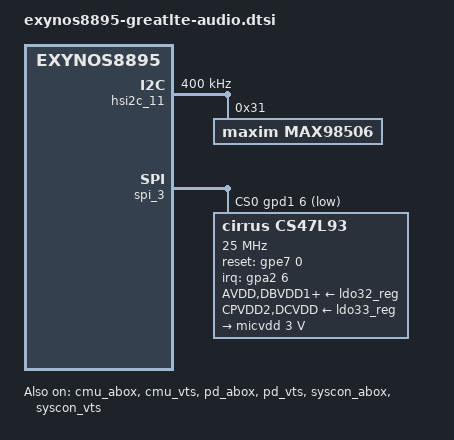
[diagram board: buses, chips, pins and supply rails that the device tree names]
// SPDX-License-Identifier: GPL-2.0 OR BSD-3-Clause
/*
 * Samsung Galaxy Note 8 (SM-N950N) audio
 */

#include <dt-bindings/gpio/gpio.h>
#include <dt-bindings/interrupt-controller/irq.h>

/ {
	abox: abox@13e50000 {
		compatible = "samsung,exynos8895-abox";
		reg = <0x0 0x13e50000 0x10000>, <0x0 0x13f00000 0x31000>;
		reg-names = "sfr", "sram";
		#address-cells = <2>;
		#size-cells = <1>;
		ranges;
		power-domains = <&pd_abox>;
		iommus = <&sysmmu_abox>;
		memory-region = <&abox_rmem>;
		samsung,pmu-syscon = <&pmu_system_controller>;
		samsung,sysreg = <&syscon_abox>;
		samsung,abox-gic = <&abox_gic>;
		samsung,vts = <&vts>;
		samsung,ipc-tx-offset = <0x30000>;
		samsung,ipc-rx-offset = <0x30300>;
		samsung,ipc-tx-ack-offset = <0x302fc>;
		samsung,ipc-rx-ack-offset = <0x305fc>;
		samsung,mailbox-offset = <0x30600>;
		samsung,pm-qos-int = <533000 400000 0 0 0>;
		clocks = <&cmu_abox CLK_MOUT_ABOX_PLL_AUD>, <&cmu_abox CLK_DOUT_ABOX_PLL>,
			 <&cmu_abox CLK_DOUT_ABOX_AUDIF>,
			 <&cmu_abox CLK_DOUT_ABOX_UAIF0>, <&cmu_abox CLK_DOUT_ABOX_UAIF1>,
			 <&cmu_abox CLK_DOUT_ABOX_UAIF2>, <&cmu_abox CLK_DOUT_ABOX_UAIF3>,
			 <&cmu_abox CLK_DOUT_ABOX_UAIF4>, <&cmu_abox CLK_DOUT_ABOX_DSIF>,
			 <&cmu_abox CLK_DOUT_ABOX_DMIC>,
			 <&cmu_abox CLK_GOUT_ABOX_BCLK_UAIF0>, <&cmu_abox CLK_GOUT_ABOX_BCLK_UAIF1>,
			 <&cmu_abox CLK_GOUT_ABOX_BCLK_UAIF2>, <&cmu_abox CLK_GOUT_ABOX_BCLK_UAIF3>,
			 <&cmu_abox CLK_GOUT_ABOX_BCLK_UAIF4>, <&cmu_abox CLK_GOUT_ABOX_BCLK_DSIF>,
			 <&cmu_abox CLK_FOUT_PLL_AUD>, <&oscclk>, <&cmu_abox CLK_DOUT_ABOX_BUS>;
		clock-names = "pll", "ca7", "audif", "bclk0", "bclk1", "bclk2", "bclk3", "bclk4", "bclk5", "dmic",
			      "bclk0_gate", "bclk1_gate", "bclk2_gate", "bclk3_gate", "bclk4_gate", "bclk5_gate",
			      "pll_fout", "oscclk", "bus";
		pinctrl-names = "active", "idle";
		pinctrl-0 = <&aud_codec_mclk &aud_codec_bus &aud_spk_bus &aud_fm_bus &aud_bt_bus &aud_cdma_bus>;
		pinctrl-1 = <&aud_codec_mclk_idle &aud_codec_bus_idle &aud_spk_bus_idle &aud_fm_bus_idle
			    &aud_bt_bus_idle &aud_cdma_bus_idle>;
		#sound-dai-cells = <1>;

		abox_rdma0: abox_rdma@13e51000 {
			compatible = "samsung,exynos8895-abox-rdma";
			reg = <0x0 0x13e51000 0x100>;
			samsung,id = <0>;
			samsung,type = "normal";
			#sound-dai-cells = <0>;
		};

		abox_rdma1: abox_rdma@13e51100 {
			compatible = "samsung,exynos8895-abox-rdma";
			reg = <0x0 0x13e51100 0x100>;
			samsung,id = <1>;
			samsung,type = "normal";
			#sound-dai-cells = <0>;
		};

		abox_rdma2: abox_rdma@13e51200 {
			compatible = "samsung,exynos8895-abox-rdma";
			reg = <0x0 0x13e51200 0x100>;
			samsung,id = <2>;
			samsung,type = "normal";
			#sound-dai-cells = <0>;
		};

		abox_rdma3: abox_rdma@13e51300 {
			compatible = "samsung,exynos8895-abox-rdma";
			reg = <0x0 0x13e51300 0x100>;
			samsung,id = <3>;
			samsung,type = "sync";
			#sound-dai-cells = <0>;
		};

		abox_rdma4: abox_rdma@13e51400 {
			compatible = "samsung,exynos8895-abox-rdma";
			reg = <0x0 0x13e51400 0x100>;
			samsung,id = <4>;
			samsung,type = "call";
			#sound-dai-cells = <0>;
		};

		abox_rdma5: abox_rdma@13e51500 {
			compatible = "samsung,exynos8895-abox-rdma";
			reg = <0x0 0x13e51500 0x100>;
			samsung,id = <5>;
			samsung,type = "compress";
			#sound-dai-cells = <0>;
		};

		abox_rdma6: abox_rdma@13e51600 {
			compatible = "samsung,exynos8895-abox-rdma";
			reg = <0x0 0x13e51600 0x100>;
			samsung,id = <6>;
			samsung,type = "realtime";
			#sound-dai-cells = <0>;
		};

		abox_rdma7: abox_rdma@13e51700 {
			compatible = "samsung,exynos8895-abox-rdma";
			reg = <0x0 0x13e51700 0x100>;
			samsung,id = <7>;
			samsung,type = "realtime";
			#sound-dai-cells = <0>;
		};

		abox_wdma0: abox_wdma@13e52000 {
			compatible = "samsung,exynos8895-abox-wdma";
			reg = <0x0 0x13e52000 0x100>;
			samsung,id = <0>;
			samsung,type = "normal";
			#sound-dai-cells = <0>;
		};

		abox_wdma1: abox_wdma@13e52100 {
			compatible = "samsung,exynos8895-abox-wdma";
			reg = <0x0 0x13e52100 0x100>;
			samsung,id = <1>;
			samsung,type = "normal";
			#sound-dai-cells = <0>;
		};

		abox_wdma2: abox_wdma@13e52200 {
			compatible = "samsung,exynos8895-abox-wdma";
			reg = <0x0 0x13e52200 0x100>;
			samsung,id = <2>;
			samsung,type = "call";
			#sound-dai-cells = <0>;
		};

		abox_wdma3: abox_wdma@13e52300 {
			compatible = "samsung,exynos8895-abox-wdma";
			reg = <0x0 0x13e52300 0x100>;
			samsung,id = <3>;
			samsung,type = "realtime";
			#sound-dai-cells = <0>;
		};

		abox_wdma4: abox_wdma@13e52400 {
			compatible = "samsung,exynos8895-abox-wdma";
			reg = <0x0 0x13e52400 0x100>;
			samsung,id = <4>;
			samsung,type = "vi-sensing";
			#sound-dai-cells = <0>;
		};

		abox_effect: abox_effect@13f2e000 {
			compatible = "samsung,exynos8895-abox-effect";
			reg = <0x0 0x13f2e000 0x1000>;
			reg-names = "reg";
			#sound-dai-cells = <0>;
		};

		abox_debug@0 {
			compatible = "samsung,exynos8895-abox-debug";
		};

		abox_vss@0 {
			compatible = "samsung,exynos8895-abox-vss";
		};

		abox_adaptation: abox_adaptation {
			compatible = "samsung,exynos8895-abox-adaptation";
			#sound-dai-cells = <1>;
		};

		ext-bin {
			bin0 {
				samsung,name = "dsm.bin";
				samsung,area = <1>;
				samsung,offset = <0x502000>;
			};

			bin1 {
				samsung,name = "AP_AUDIO_SLSI.bin";
				samsung,area = <1>;
				samsung,offset = <0x7f0000>;
			};

			bin2 {
				samsung,name = "APBargeIn_AUDIO_SLSI.bin";
				samsung,area = <1>;
				samsung,offset = <0x7ec000>;
			};

			bin3 {
				samsung,name = "SoundBoosterParam.bin";
				samsung,area = <1>;
				samsung,offset = <0x4fc000>;
			};

			bin4 {
				samsung,name = "APBiBF_AUDIO_SLSI.bin";
				samsung,area = <1>;
				samsung,offset = <0x7ef000>;
			};

			bin5 {
				samsung,name = "dsm_tune.bin";
				samsung,area = <1>;
				samsung,offset = <0x601000>;
			};
		};
	};

	vts: vts@14020000 {
		compatible = "samsung,exynos8895-vts";
		reg = <0x0 0x14020000 0x10000>, <0x0 0x14100000 0x59800>,
		      <0x0 0x14070000 0x8>, <0x0 0x141f0000 0x50>;
		reg-names = "sfr", "sram", "dmic", "gpr";
		#address-cells = <2>;
		#size-cells = <1>;
		ranges;
		power-domains = <&pd_vts>;
		clocks = <&cmu_vts CLK_VTS_OSC>, <&cmu_vts CLK_DOUT_VTS_DMIC>,
			 <&cmu_vts CLK_DOUT_VTS_DMICIF>, <&cmu_vts CLK_DOUT_VTS_DMIC_DIV2>;
		clock-names = "rco", "dmic", "dmic_if", "dmic_sync";
		samsung,mailbox = <&vts_mailbox>;
		interrupt-parent = <&vts_mailbox>;
		interrupts = <0>, <1>, <2>, <3>, <4>, <5>;
		interrupt-names = "error", "boot_completed", "ipc_received", "voice_triggered",
				  "trigger_period_elapsed", "record_period_elapsed";
		pinctrl-names = "dmic_default", "amic_default", "idle";
		pinctrl-0 = <&dmic_bus_clk &dmic_pdm>;
		pinctrl-1 = <&amic_bus_clk &amic_pdm>;
		pinctrl-2 = <&mic_bus_clk_idle &dmic_pdm_idle &amic_pdm_idle>;
		samsung,pmu-syscon = <&pmu_system_controller>;
		lpsd-gain = <0>;
		dmic-gain = <0>;
		amic-gain = <4>;
		#sound-dai-cells = <1>;

		vts_dma0: vts-dma-0 {
			compatible = "samsung,exynos8895-vts-dma";
			samsung,id = <0>;
			samsung,type = "vts-trigger";
			#sound-dai-cells = <0>;
		};

		vts_dma1: vts-dma-1 {
			compatible = "samsung,exynos8895-vts-dma";
			samsung,id = <1>;
			samsung,type = "vts-record";
			#sound-dai-cells = <0>;
		};
	};

	sound {
		compatible = "samsung,exynos8895-madera";
		clocks = <&pmu_system_controller 0>;
		clock-names = "xclkout";
		cirrus,sysclk = <1 5 98304000>;
		cirrus,asyncclk = <2 6 98304000>;
		cirrus,dspclk = <8 5 147456000>;
		cirrus,outclk = <9 2 0>;
		cirrus,fll1-refclk = <1 1 26000000>;
		cirrus,fll2-refclk = <2 9 26000000>;
		samsung,routing =
			"HEADSETMIC", "MICBIAS2A", "IN1BLN", "HEADSETMIC", "IN1BLP", "HEADSETMIC",
			"DMIC1", "MICBIAS1A", "IN3L", "DMIC1",
			"DMIC2", "MICBIAS1B", "IN2ALN", "DMIC2", "IN2ALP", "DMIC2", "VTS PAD DPDM", "DMIC1",
			"RECEIVER", "HPOUT3L", "RECEIVER", "HPOUT3R", "RECEIVER", "HPOUT4L", "RECEIVER", "HPOUT4R",
			"HEADPHONE", "HPOUT2L", "HEADPHONE", "HPOUT2R",
			"BLUETOOTH SPK", "ABOX UAIF3 Playback", "ABOX UAIF3 Capture", "BLUETOOTH MIC",
			"VOUTPUT", "ABOX UAIF0 Playback", "ABOX UAIF1 Capture", "VINPUT1", "ABOX UAIF4 Capture", "VINPUT2",
			"SPEAKER", "HiFi Playback", "VOUTPUTCALL", "ABOX UAIF2 Playback", "ABOX UAIF2 Capture", "VINPUTCALL",
			"VTS Virtual Output", "VTS Virtual Output Mux";
		samsung,codec = <&abox &vts>;
		samsung,aux = <&abox_effect>;

		rdma@0 {
			cpu { sound-dai = <&abox 6>;
					   };
			platform { sound-dai = <&abox_rdma0>;
						};
		};

		rdma@1 {
			cpu { sound-dai = <&abox 7>;
					   };
			platform { sound-dai = <&abox_rdma1>;
						};
		};

		rdma@2 {
			cpu { sound-dai = <&abox 8>;
					   };
			platform { sound-dai = <&abox_rdma2>;
						};
		};

		rdma@3 {
			cpu { sound-dai = <&abox 9>;
					   };
			platform { sound-dai = <&abox_rdma3>;
						};
		};

		rdma@4 {
			cpu { sound-dai = <&abox 10>;
					   };
			platform { sound-dai = <&abox_rdma4>;
						};
		};

		rdma@5 {
			cpu { sound-dai = <&abox 11>;
					   };
			platform { sound-dai = <&abox_rdma5>;
						};
		};

		rdma@6 {
			cpu { sound-dai = <&abox 12>;
					   };
			platform { sound-dai = <&abox_rdma6>;
						};
		};

		rdma@7 {
			cpu { sound-dai = <&abox 13>;
					   };
			platform { sound-dai = <&abox_rdma7>;
						};
		};

		wdma@0 {
			cpu { sound-dai = <&abox 14>;
					   };
			platform { sound-dai = <&abox_wdma0>;
						};
		};

		wdma@1 {
			cpu { sound-dai = <&abox 15>;
					   };
			platform { sound-dai = <&abox_wdma1>;
						};
		};

		wdma@2 {
			cpu { sound-dai = <&abox 16>;
					   };
			platform { sound-dai = <&abox_wdma2>;
						};
		};

		wdma@3 {
			cpu { sound-dai = <&abox 17>;
					   };
			platform { sound-dai = <&abox_wdma3>;
						};
		};

		wdma@4 {
			cpu { sound-dai = <&abox 18>;
					   };
			platform { sound-dai = <&abox_wdma4>;
						};
		};

		uaif@0 {
			cpu { sound-dai = <&abox 0>;
					   };
			codec { sound-dai = <&cs47l93 0>;
					     };
		};

		uaif@1 {
			cpu { sound-dai = <&abox 1>;
					   };
		};

		uaif@2 {
			cpu { sound-dai = <&abox 2>;
					   };
		};

		uaif@3 {
			cpu { sound-dai = <&abox 3>;
					   };
		};

		uaif@4 {
			cpu {
				sound-dai = <&abox 4>;
			};

			platform {
				sound-dai = <&abox_adaptation 0>;
			};

			codec {
				sound-dai = <&max98506 0>;
			};
		};

		dsif@0 {
			cpu { sound-dai = <&abox 5>;
					   };
		};

		internal@0 {
			cpu { sound-dai = <&abox 19>;
					   };
		};

		vts@0 {
			cpu { sound-dai = <&vts 0>;
					   };
			platform { sound-dai = <&vts_dma0>;
						};
		};

		vts@1 {
			cpu { sound-dai = <&vts 1>;
					   };
			platform { sound-dai = <&vts_dma1>;
						};
		};
	};
};

&abox_gic {
	status = "okay";
};

&cmu_abox {
	status = "okay";
};

&cmu_vts {
	status = "okay";
};

&hsi2c_11 {
	clock-frequency = <400000>;
	#address-cells = <1>;
	#size-cells = <0>;
	status = "okay";

	max98506: amplifier@31 {
		compatible = "maxim,max98506";
		reg = <0x31>;
		#sound-dai-cells = <1>;
		pinctrl-names = "default";
		pinctrl-0 = <&max98506_ctl>;
		maxim,spk-gain = <0x14>;
		maxim,sysclk = <12288000>;
		maxim,vmon_slot = <0>;
		maxim,platform_info = <0x02 0x00 0x00 0x00 0x00 0x2a>;
		maxim,boost_step = <15 15 15 15 15 15 15 15 15 15 15 15 15 15 2 0>;
		maxim,adc_threshold = <7>;
		maxim,registers-of-amp = <0x1f 0x00 0x21 0xc0 0x2d 0x14 0x2f 0x00>;
	};
};

&pd_abox {
	status = "okay";
};

&pd_vts {
	status = "okay";
};

&pinctrl_abox {
	status = "okay";

	aud_codec_mclk: aud-codec-mclk-pins {
		samsung,pins = "gph0-0";
		samsung,pin-function = <2>;
		samsung,pin-pud = <1>;
	};

	aud_codec_mclk_idle: aud-codec-mclk-idle-pins {
		samsung,pins = "gph0-0";
		samsung,pin-function = <0>;
		samsung,pin-pud = <1>;
	};

	aud_codec_bus: aud-codec-bus-pins {
		samsung,pins = "gph0-1", "gph0-2", "gph0-3", "gph0-4";
		samsung,pin-function = <2>;
		samsung,pin-pud = <1>;
	};

	aud_codec_bus_idle: aud-codec-bus-idle-pins {
		samsung,pins = "gph0-1", "gph0-2", "gph0-3", "gph0-4";
		samsung,pin-function = <0>;
		samsung,pin-pud = <1>;
	};

	aud_spk_bus: aud-spk-bus-pins {
		samsung,pins = "gph0-5", "gph0-6", "gph0-7";
		samsung,pin-function = <2>;
		samsung,pin-pud = <1>;
	};

	aud_spk_bus_idle: aud-spk-bus-idle-pins {
		samsung,pins = "gph0-5", "gph0-6", "gph0-7";
		samsung,pin-function = <0>;
		samsung,pin-pud = <1>;
	};

	aud_fm_bus: aud-fm-bus-pins {
		samsung,pins = "gph1-0", "gph1-1", "gph1-2";
		samsung,pin-function = <2>;
		samsung,pin-pud = <1>;
	};

	aud_fm_bus_idle: aud-fm-bus-idle-pins {
		samsung,pins = "gph1-0", "gph1-1", "gph1-2";
		samsung,pin-function = <0>;
		samsung,pin-pud = <1>;
	};

	aud_bt_bus: aud-bt-bus-pins {
		samsung,pins = "gph1-3", "gph1-4", "gph1-5", "gph1-6";
		samsung,pin-function = <2>;
		samsung,pin-pud = <1>;
	};

	aud_bt_bus_idle: aud-bt-bus-idle-pins {
		samsung,pins = "gph1-3", "gph1-4", "gph1-5", "gph1-6";
		samsung,pin-function = <0>;
		samsung,pin-pud = <1>;
	};

	aud_cdma_bus: aud-cdma-bus-pins {
		samsung,pins = "gph3-0", "gph3-1", "gph3-2", "gph3-3";
		samsung,pin-function = <2>;
		samsung,pin-pud = <1>;
	};

	aud_cdma_bus_idle: aud-cdma-bus-idle-pins {
		samsung,pins = "gph3-0", "gph3-1", "gph3-2", "gph3-3";
		samsung,pin-function = <0>;
		samsung,pin-pud = <1>;
	};
};

&pinctrl_alive {
	codec_irq: codec-irq-pins {
		samsung,pins = "gpa2-6";
		samsung,pin-function = <EXYNOS_PIN_FUNC_EINT>;
		samsung,pin-pud = <EXYNOS_PIN_PULL_NONE>;
	};
};

&pinctrl_peric0 {
	codec_reset: codec-reset-pins {
		samsung,pins = "gpe7-0";
		samsung,pin-function = <EXYNOS_PIN_FUNC_OUTPUT>;
		samsung,pin-pud = <EXYNOS_PIN_PULL_NONE>;
		samsung,pin-con-pdn = <3>;
		samsung,pin-pud-pdn = <1>;
		samsung,pin-val = <0>;
	};

	max98506_ctl: max98506-ctl-pins {
		samsung,pins = "gpf1-6";
		samsung,pin-function = <EXYNOS_PIN_FUNC_INPUT>;
		samsung,pin-pud = <EXYNOS_PIN_PULL_NONE>;
		samsung,pin-con-pdn = <2>;
		samsung,pin-pud-pdn = <0>;
	};
};

&pinctrl_vts {
	status = "okay";

	dmic_bus_clk: dmic-bus-clk-pins {
		samsung,pins = "gph2-2";
		samsung,pin-function = <2>;
		samsung,pin-pud = <1>;
		samsung,pin-con-pdn = <2>;
	};

	amic_bus_clk: amic-bus-clk-pins {
		samsung,pins = "gph2-2";
		samsung,pin-function = <0>;
		samsung,pin-pud = <0>;
		samsung,pin-con-pdn = <2>;
	};

	mic_bus_clk_idle: mic-bus-clk-idle-pins {
		samsung,pins = "gph2-2";
		samsung,pin-function = <0>;
		samsung,pin-pud = <0>;
		samsung,pin-con-pdn = <2>;
	};

	dmic_pdm: dmic-pdm-pins {
		samsung,pins = "gph2-1";
		samsung,pin-function = <2>;
		samsung,pin-pud = <1>;
		samsung,pin-con-pdn = <2>;
	};

	dmic_pdm_idle: dmic-pdm-idle-pins {
		samsung,pins = "gph2-1";
		samsung,pin-function = <0>;
		samsung,pin-pud = <0>;
		samsung,pin-con-pdn = <2>;
	};

	amic_pdm: amic-pdm-pins {
		samsung,pins = "gph2-0";
		samsung,pin-function = <2>;
		samsung,pin-pud = <0>;
		samsung,pin-con-pdn = <2>;
	};

	amic_pdm_idle: amic-pdm-idle-pins {
		samsung,pins = "gph2-0";
		samsung,pin-function = <0>;
		samsung,pin-pud = <0>;
		samsung,pin-con-pdn = <2>;
	};
};

&spi_3 {
	pinctrl-names = "default";
	pinctrl-0 = <&spi3_bus &spi3_cs>;
	cs-gpios = <&gpd1 6 GPIO_ACTIVE_LOW>;
	status = "okay";

	cs47l93: codec@0 {
		compatible = "cirrus,cs47l93";
		reg = <0>;
		spi-max-frequency = <25000000>;
		interrupt-parent = <&gpa2>;
		interrupts = <6 IRQ_TYPE_LEVEL_LOW>;
		interrupt-controller;
		#interrupt-cells = <2>;
		gpio-controller;
		#gpio-cells = <2>;
		#sound-dai-cells = <1>;
		pinctrl-names = "default";
		pinctrl-0 = <&codec_reset &codec_irq>;
		AVDD-supply = <&ldo32_reg>;
		DBVDD1-supply = <&ldo32_reg>;
		CPVDD1-supply = <&ldo32_reg>;
		CPVDD2-supply = <&ldo33_reg>;
		DCVDD-supply = <&ldo33_reg>;
		reset-gpios = <&gpe7 0 GPIO_ACTIVE_HIGH>;
		clocks = <&pmu_system_controller 0>;
		clock-names = "mclk1";
		assigned-clocks = <&pmu_system_controller 0>;
		assigned-clock-parents = <&oscclk>;
		cirrus,micbias1 = <1800 0 1 1 1 1 1 0>;
		cirrus,micbias2 = <2800 0 1 1 1 1 1 0>;
		cirrus,dmic-ref = <0 1 1 0>;
		cirrus,inmode = <0 0 0 0 0 0 0 0>;
		cirrus,out-mono = <0 0 1 1 0 0>;
		cirrus,auxpdm-falling-edge;
		cirrus,gpio-defaults = <0xffffffff 0xffffffff 0xffffffff 0xffffffff 0x2000 0x6000 0x2000 0x6000
					0x2000 0x6000 0x2000 0x6000 0x2000 0x6000 0x2000 0x6000 0x2001 0x9000
					0x2001 0x9000 0x2001 0x9000 0x2000 0x6000 0x2000 0x6000 0x2000 0x6000
					0x2000 0x6000 0x2000 0x6000>;
		cirrus,gpsw = <3>;

		micvdd {
			regulator-min-microvolt = <3000000>;
			regulator-max-microvolt = <3000000>;
		};

		controller-data {
			samsung,spi-feedback-delay = <1>;
		};

		cirrus,accdet {
			#address-cells = <1>;
			#size-cells = <0>;

			acc@1 {
				reg = <2>;
				cirrus,micd-bias-start-time = <1>;
				cirrus,micd-pol-gpios = <0>;
				cirrus,micd-rate = <7>;
				cirrus,micd-detect-debounce-ms = <300>;
				cirrus,micd-clamp-mode = <8>;
				cirrus,jd-use-jd2;
				cirrus,hs-mic = <1>;
				cirrus,init-delay-ms = <30>;
				cirrus,micd-dbtime = <1>;
				cirrus,micd-timeout-ms = <1000>;
				cirrus,micd-force-micbias;
				cirrus,hpdet-short-circuit-imp = <2>;
				cirrus,micd-ranges = <116 226  173 582  321 115  752 114  1257 217>;
				cirrus,micd-software-compare;
				cirrus,micd-open-circuit-declare = <1>;
				cirrus,jd-wake-time = <5000>;
				cirrus,hpdet-ext-res = <3400>;
				cirrus,moisture-pin = <7>;
				cirrus,moisture-imp = <2000>;
				cirrus,moisture-debounce = <40>;
				cirrus,micd-configs = <0 1 4 0 1>;
				cirrus,hpd-pins = <2 5 0 0>;
			};
		};
	};
};

&syscon_abox {
	status = "okay";
};

&syscon_vts {
	status = "okay";
};

&sysmmu_abox {
	status = "okay";
};

&vts_mailbox {
	status = "okay";
};
